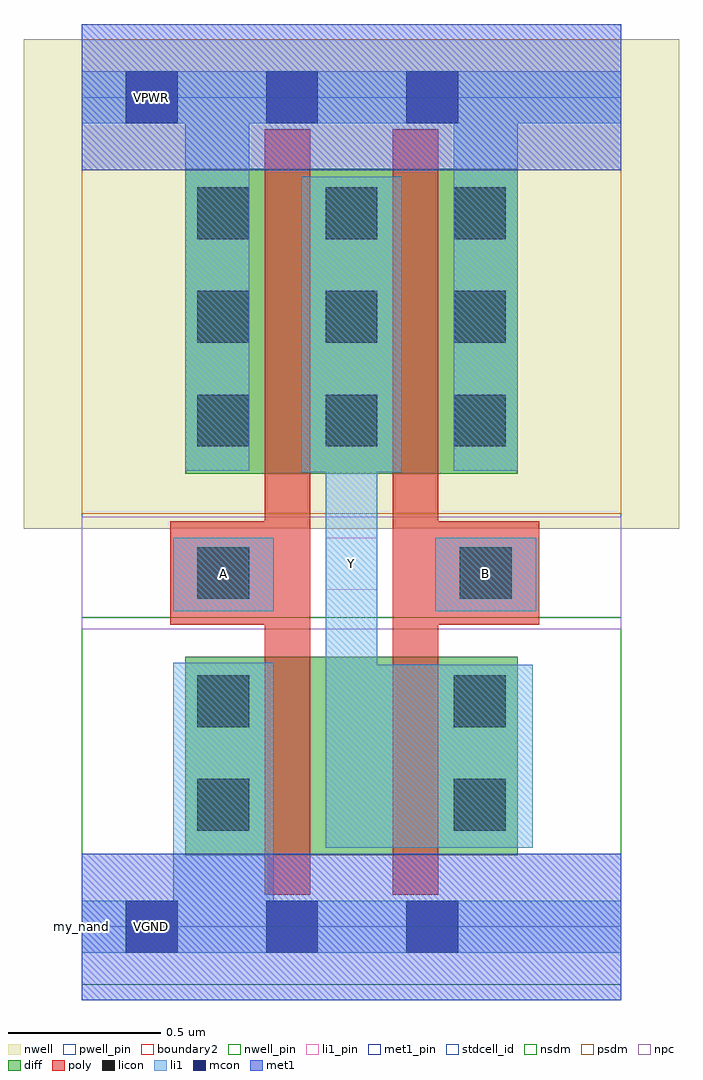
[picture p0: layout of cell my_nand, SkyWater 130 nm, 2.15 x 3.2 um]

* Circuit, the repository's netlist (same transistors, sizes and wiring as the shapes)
* NGSPICE file created from my_nand.ext - technology: sky130A

.subckt my_nand Y A B VGND VPWR VPB VNB
X0 Y B a_150_47# VNB sky130_fd_pr__nfet_01v8 ad=1.69e+11p pd=1.82e+06u as=1.755e+11p ps=1.84e+06u w=650000u l=150000u
X1 a_150_47# A VGND VNB sky130_fd_pr__nfet_01v8 ad=0p pd=0u as=1.69e+11p ps=1.82e+06u w=650000u l=150000u
X2 Y A VPWR VPB sky130_fd_pr__pfet_01v8 ad=2.7e+11p pd=2.54e+06u as=5.2e+11p ps=5.04e+06u w=1e+06u l=150000u
X3 VPWR B Y VPB sky130_fd_pr__pfet_01v8 ad=0p pd=0u as=0p ps=0u w=1e+06u l=150000u
.ends

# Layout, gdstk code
import gdstk
lib = gdstk.Library(unit=1e-6, precision=1e-09)
def R(c, l, rs):  # rectangles x0, y0, x1, y1
    for r in rs: c.add(gdstk.rectangle(r[:2], r[2:], *l))
def A(c, l, x, y, w, h, nx, ny, dx, dy):  # array of equal rectangles
    R(c, l, [(x+i*dx, y+j*dy, x+i*dx+w, y+j*dy+h) for i in range(nx) for j in range(ny)])
nwell_pin = (64, 16)
nwell = (64, 20)
diff = (65, 20)
poly = (66, 20)
licon = (66, 44)
li1_pin = (67, 16)
li1 = (67, 20)
mcon = (67, 44)
met1_pin = (68, 16)
met1 = (68, 20)
stdcell_id = (81, 4)
nsdm = (93, 44)
psdm = (94, 20)
npc = (95, 20)
pwell_pin = (122, 16)
boundary2 = (236, 0)

my_nand = lib.new_cell('my_nand')
R(my_nand, nwell_pin, [(0.145,2.635,0.315,2.805), (0.145,2.635,0.315,2.805)])
R(my_nand, nwell, [(-0.19,1.305,1.96,2.91)])
R(my_nand, diff, [(0.34,0.235,1.43,0.885), (0.34,1.485,1.43,2.485)])
R(my_nand, poly, [(0.6,0.105,0.75,2.615), (1.02,0.105,1.17,2.615), (0.29,0.99,0.63,1.33), (1.16,0.99,1.5,1.33)])
A(my_nand, licon, 0.38, 1.575, 0.17, 0.17, 3, 3, 0.42, 0.34)
R(my_nand, licon, [(0.38,0.315,0.55,0.485), (1.22,0.315,1.39,0.485), (0.38,0.655,0.55,0.825), (1.22,0.655,1.39,0.825), (0.38,1.075,0.55,1.245), (1.24,1.075,1.41,1.245)])
R(my_nand, li1_pin, [(0.38,1.075,0.55,1.245), (1.24,1.075,1.41,1.245), (0.8,1.105,0.97,1.275)])
R(my_nand, li1, [(0,-0.085,1.77,0.085), (0.3,0.005,0.63,0.865), (0.8,0.26,0.97,1.495), (0.85,0.26,1.48,0.86), (0.3,1.035,0.63,1.275), (1.16,1.035,1.49,1.275), (0.72,1.49,1.05,2.46), (0.34,1.495,0.55,2.675), (1.22,1.495,1.43,2.675), (0,2.635,1.77,2.805)])
A(my_nand, mcon, 0.145, -0.085, 0.17, 0.17, 3, 2, 0.46, 2.72)
R(my_nand, met1_pin, [(0.145,-0.085,0.315,0.085), (0.145,-0.085,0.315,0.085), (0.145,2.635,0.315,2.805), (0.145,2.635,0.315,2.805)])
R(my_nand, stdcell_id, [(0,0,1.77,2.72)])
R(my_nand, nsdm, [(0,-0.19,1.77,1.015)])
R(my_nand, psdm, [(0,1.355,1.77,2.91)])
R(my_nand, npc, [(0,0.975,1.77,1.345)])
R(my_nand, pwell_pin, [(0.145,-0.085,0.315,0.085), (0.145,-0.085,0.315,0.085)])
R(my_nand, boundary2, [(0,0,1.77,2.72)])
my_nand.add(gdstk.FlexPath([(0,0),(1.77,0)], 0.48, ends="flush", simple_path=True, layer=68, datatype=20))  # met1
my_nand.add(gdstk.FlexPath([(0,2.72),(1.77,2.72)], 0.48, ends="flush", simple_path=True, layer=68, datatype=20))  # met1
my_nand.add(gdstk.Label('Y', (0.885,1.19), layer=67, texttype=5))
my_nand.add(gdstk.Label('A', (0.465,1.16), layer=67, texttype=5))
my_nand.add(gdstk.Label('B', (1.325,1.16), layer=67, texttype=5))
my_nand.add(gdstk.Label('VGND', (0.23,0), layer=68, texttype=5))
my_nand.add(gdstk.Label('VPWR', (0.23,2.72), layer=68, texttype=5))
my_nand.add(gdstk.Label('VPB', (0.23,2.72), layer=64, texttype=5))
my_nand.add(gdstk.Label('VNB', (0.23,0), layer=64, texttype=59))
my_nand.add(gdstk.Label('my_nand', (0,0), layer=83, texttype=44))

lib.write_gds('my_nand.gds')
